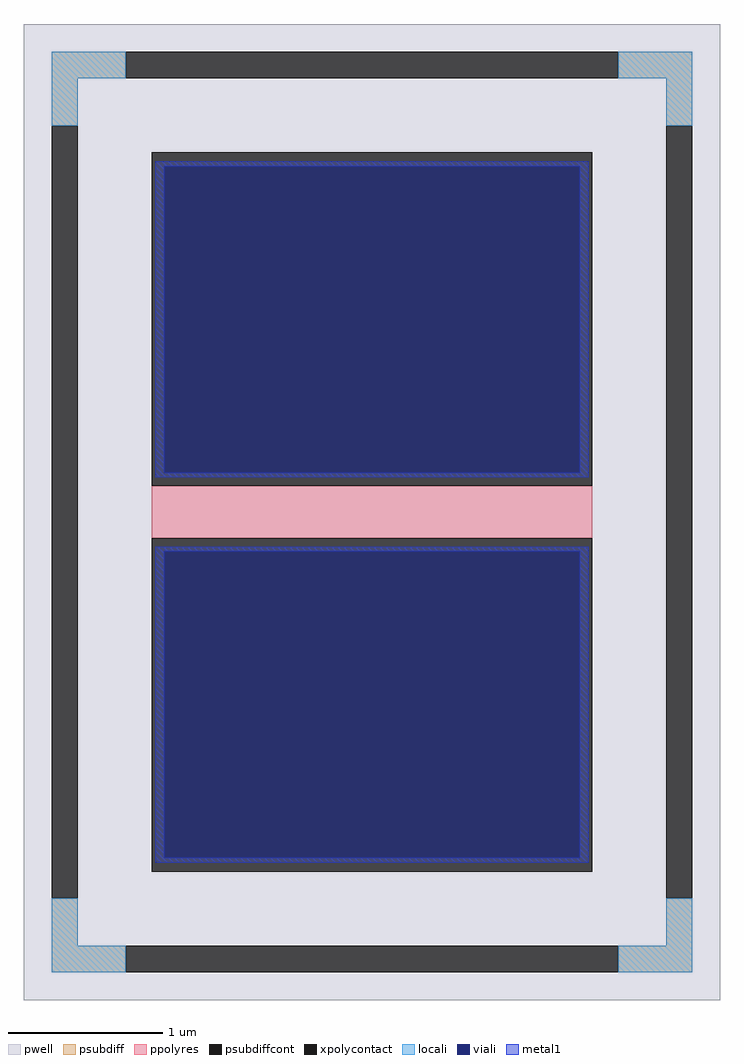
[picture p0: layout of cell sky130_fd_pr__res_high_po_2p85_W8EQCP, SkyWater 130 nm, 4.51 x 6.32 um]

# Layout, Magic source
magic
tech sky130A
magscale 1 2
<< pwell >>
rect -451 -632 451 632
<< psubdiff >>
rect -415 562 -319 596
rect 319 562 415 596
rect -415 500 -381 562
rect 381 500 415 562
rect -415 -562 -381 -500
rect 381 -562 415 -500
rect -415 -596 -319 -562
rect 319 -596 415 -562
<< psubdiffcont >>
rect -319 562 319 596
rect -415 -500 -381 500
rect 381 -500 415 500
rect -319 -596 319 -562
<< xpolycontact >>
rect -285 34 285 466
rect -285 -466 285 -34
<< ppolyres >>
rect -285 -34 285 34
<< locali >>
rect -415 562 -319 596
rect 319 562 415 596
rect -415 500 -381 562
rect 381 500 415 562
rect -415 -562 -381 -500
rect 381 -562 415 -500
rect -415 -596 -319 -562
rect 319 -596 415 -562
<< viali >>
rect -269 51 269 448
rect -269 -448 269 -51
<< metal1 >>
rect -281 448 281 454
rect -281 51 -269 448
rect 269 51 281 448
rect -281 45 281 51
rect -281 -51 281 -45
rect -281 -448 -269 -51
rect 269 -448 281 -51
rect -281 -454 281 -448
<< properties >>
string FIXED_BBOX -398 -579 398 579
string gencell sky130_fd_pr__res_high_po_2p85
string library sky130
string parameters w 2.850 l 0.50 m 1 nx 1 wmin 2.850 lmin 0.50 class resistor rho 319.8 val 175.989 dummy 0 dw 0.0 term 194.82 sterm 0.0 caplen 0 guard 1 glc 1 grc 1 gtc 1 gbc 1 compatible {sky130_fd_pr__res_high_po_0p35  sky130_fd_pr__res_high_po_0p69 sky130_fd_pr__res_high_po_1p41  sky130_fd_pr__res_high_po_2p85 sky130_fd_pr__res_high_po_5p73} snake 0 full_metal 1 wmax 2.850 n_guard 0 hv_guard 0 vias 1 viagb 0 viagt 0 viagl 0 viagr 0 mult 1
<< end >>
